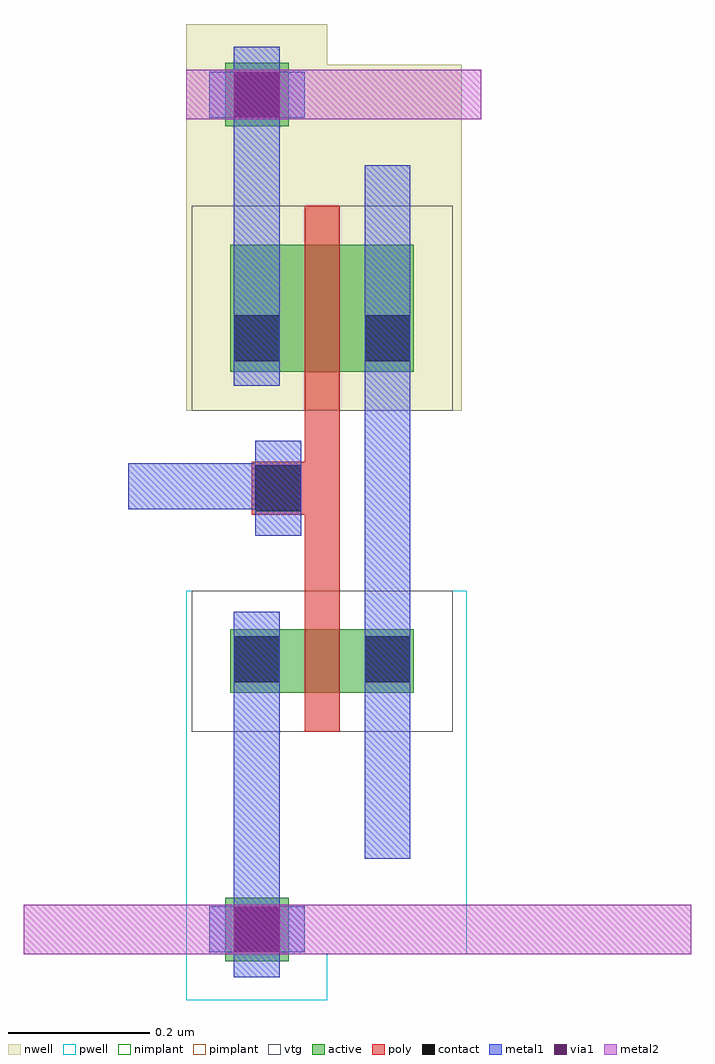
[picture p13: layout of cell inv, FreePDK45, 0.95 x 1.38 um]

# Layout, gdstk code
import gdstk
lib = gdstk.Library(unit=1e-6, precision=5e-10)
def R(c, l, rs):  # rectangles x0, y0, x1, y1
    for r in rs: c.add(gdstk.rectangle(r[:2], r[2:], *l))
active = (1, 0)
pwell = (2, 0)
nwell = (3, 0)
nimplant = (4, 0)
pimplant = (5, 0)
vtg = (6, 0)
poly = (9, 0)
contact = (10, 0)
metal1 = (11, 0)
via1 = (12, 0)
metal2 = (13, 0)

pcont_2 = lib.new_cell('pcont_2')
R(pcont_2, poly, [(-0.0375,-0.0375,0.0375,0.0375)])
R(pcont_2, contact, [(-0.0325,-0.0325,0.0325,0.0325)])
R(pcont_2, metal1, [(-0.0325,-0.0675,0.0325,0.0675)])

m2_m1_viab = lib.new_cell('M2_M1_viaB')
R(m2_m1_viab, metal1, [(-0.0675,-0.0325,0.0675,0.0325)])
R(m2_m1_viab, via1, [(-0.0325,-0.0325,0.0325,0.0325)])
R(m2_m1_viab, metal2, [(-0.0675,-0.035,0.0675,0.035)])

dcont_25 = lib.new_cell('dcont_25')
R(dcont_25, active, [(-0.0375,0.03,0.0375,0.105)])
R(dcont_25, contact, [(-0.0325,0.035,0.0325,0.1)])
R(dcont_25, metal1, [(-0.0325,0,0.0325,0.135)])

pmos_vtg_4 = lib.new_cell('pmos_vtg_4')
R(pmos_vtg_4, active, [(-0.105,0,0.155,0.18), (-0.105,0,-0.03,0.18), (0.08,0,0.155,0.18), (-0.105,0.01,-0.03,0.085), (0.08,0.01,0.155,0.085)])
R(pmos_vtg_4, nwell, [(-0.16,-0.055,0.21,0.235)])
R(pmos_vtg_4, pimplant, [(-0.105,0,0.155,0.18)])
R(pmos_vtg_4, vtg, [(-0.16,-0.055,0.21,0.235)])
R(pmos_vtg_4, poly, [(0,-0.055,0.05,0), (0,-0.055,0.05,0.235), (0,0.18,0.05,0.235)])
pmos_vtg_4.add(gdstk.Reference(dcont_25, (0.1175,-0.02)))
pmos_vtg_4.add(gdstk.Reference(dcont_25, (-0.0675,-0.02)))
pmos_vtg_4.add(gdstk.Label('l = 0.05', (0.06,0.09), layer=239, texttype=0))
pmos_vtg_4.add(gdstk.Label('w = 0.18', (0.025,0.245), layer=239, texttype=0))

nmos_vtg_5 = lib.new_cell('nmos_vtg_5')
R(nmos_vtg_5, active, [(-0.105,0,0.155,0.09), (-0.105,0,-0.03,0.09), (0.08,0,0.155,0.09), (-0.105,0.01,-0.03,0.085), (0.08,0.01,0.155,0.085)])
R(nmos_vtg_5, pwell, [(-0.16,-0.055,0.21,0.145)])
R(nmos_vtg_5, nimplant, [(-0.105,0,0.155,0.09)])
R(nmos_vtg_5, vtg, [(-0.16,-0.055,0.21,0.145)])
R(nmos_vtg_5, poly, [(0,-0.055,0.05,0), (0,-0.055,0.05,0.145), (0,0.09,0.05,0.145)])
nmos_vtg_5.add(gdstk.Reference(dcont_25, (0.1175,-0.02)))
nmos_vtg_5.add(gdstk.Reference(dcont_25, (-0.0675,-0.02)))
nmos_vtg_5.add(gdstk.Label('l = 0.05', (0.06,0.045), layer=239, texttype=0))
nmos_vtg_5.add(gdstk.Label('w = 0.09', (0.025,0.155), layer=239, texttype=0))

ntap_1 = lib.new_cell('NTAP_1')
R(ntap_1, active, [(-0.045,-0.045,0.045,0.045)])
R(ntap_1, nwell, [(-0.1,-0.1,0.1,0.1)])
R(ntap_1, nimplant, [(-0.045,-0.045,0.045,0.045)])
R(ntap_1, contact, [(-0.0325,-0.0325,0.0325,0.0325)])
R(ntap_1, metal1, [(-0.0325,-0.0675,0.0325,0.0675)])

ptap_0 = lib.new_cell('PTAP_0')
R(ptap_0, active, [(-0.045,-0.045,0.045,0.045)])
R(ptap_0, pwell, [(-0.1,-0.1,0.1,0.1)])
R(ptap_0, pimplant, [(-0.045,-0.045,0.045,0.045)])
R(ptap_0, contact, [(-0.0325,-0.0325,0.0325,0.0325)])
R(ptap_0, metal1, [(-0.0325,-0.0675,0.0325,0.0675)])

inv = lib.new_cell('inv')
R(inv, pwell, [(-0.005,-0.035,0.3925,0.48)])
R(inv, nwell, [(-0.005,0.735,0.385,1.225)])
R(inv, poly, [(0.1625,0.4675,0.2125,0.7375), (0.09,0.59,0.1625,0.66)])
R(inv, metal1, [(0.0625,0.005,0.1275,0.325), (0.2475,0.1,0.3125,1.0825), (-0.0875,0.595,0.1125,0.66), (0.0625,0.8925,0.1275,1.1175)])
R(inv, metal2, [(-0.235,-0.035,0.71,0.035), (-0.005,1.1475,0.4125,1.2175)])
inv.add(gdstk.Reference(pcont_2, (0.125,0.625)))
inv.add(gdstk.Reference(m2_m1_viab, (0.095,1.1825)))
inv.add(gdstk.Reference(m2_m1_viab, (0.095,0)))
inv.add(gdstk.Reference(pmos_vtg_4, (0.1625,0.79)))
inv.add(gdstk.Reference(nmos_vtg_5, (0.1625,0.335)))
inv.add(gdstk.Reference(ntap_1, (0.095,1.1825)))
inv.add(gdstk.Reference(ptap_0, (0.095,0)))

lib.write_gds('inv.gds')
